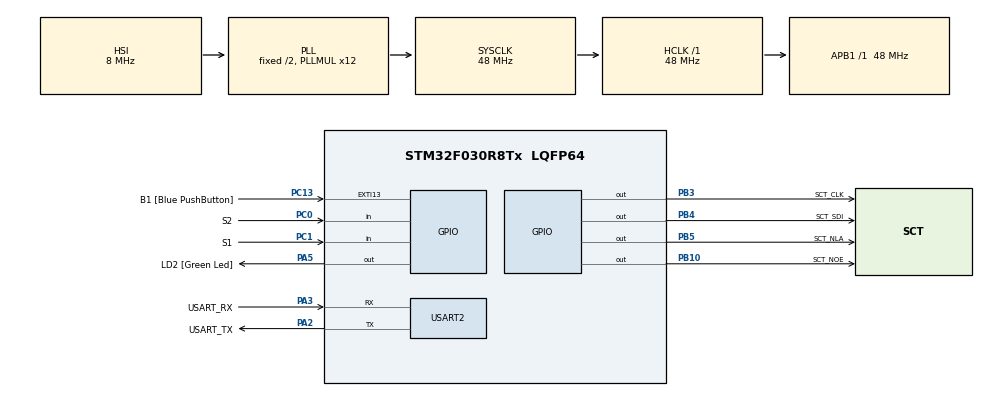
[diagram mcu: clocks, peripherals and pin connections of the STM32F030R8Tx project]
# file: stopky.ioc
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Mcu.Family=STM32F0
Mcu.Name=STM32F030R8Tx
Mcu.Package=LQFP64
PA13.GPIO_Label=TMS
PA13.Mode=Serial_Wire
PA13.Signal=SYS_SWDIO
PA14.GPIO_Label=TCK
PA14.Mode=Serial_Wire
PA14.Signal=SYS_SWCLK
PA2.GPIO_Label=USART_TX
PA2.GPIO_Mode=GPIO_MODE_AF_PP
PA2.GPIO_PuPd=GPIO_NOPULL
PA2.GPIO_Speed=GPIO_SPEED_FREQ_LOW
PA2.Mode=Asynchronous
PA2.Signal=USART2_TX
PA3.GPIO_Label=USART_RX
PA3.GPIO_Mode=GPIO_MODE_AF_PP
PA3.GPIO_PuPd=GPIO_NOPULL
PA3.GPIO_Speed=GPIO_SPEED_FREQ_LOW
PA3.Mode=Asynchronous
PA3.Signal=USART2_RX
PA5.GPIO_Label=LD2 [Green Led]
PA5.GPIO_Mode=GPIO_MODE_OUTPUT_PP
PA5.GPIO_PuPd=GPIO_NOPULL
PA5.GPIO_Speed=GPIO_SPEED_FREQ_LOW
PA5.Signal=GPIO_Output
PB10.GPIO_Label=SCT_NOE
PB10.Signal=GPIO_Output
PB3.GPIO_Label=SCT_CLK
PB3.Signal=GPIO_Output
PB4.GPIO_Label=SCT_SDI
PB4.Signal=GPIO_Output
PB5.GPIO_Label=SCT_NLA
PB5.Signal=GPIO_Output
PC0.GPIO_Label=S2
PC0.GPIO_PuPd=GPIO_PULLUP
PC0.Signal=GPIO_Input
PC1.GPIO_Label=S1
PC1.GPIO_PuPd=GPIO_PULLUP
PC1.Signal=GPIO_Input
PC13.GPIO_Label=B1 [Blue PushButton]
PC13.GPIO_ModeDefaultEXTI=GPIO_MODE_IT_FALLING
PC13.Signal=GPXTI13
PC14-OSC32_IN.Mode=LSE-External-Oscillator
PC14-OSC32_IN.Signal=RCC_OSC32_IN
PC15-OSC32_OUT.Mode=LSE-External-Oscillator
PC15-OSC32_OUT.Signal=RCC_OSC32_OUT
PF0-OSC_IN.Mode=HSE-External-Clock-Source
PF0-OSC_IN.Signal=RCC_OSC_IN
PF1-OSC_OUT.Signal=RCC_OSC_OUT
ProjectManager.HeapSize=0x200
ProjectManager.StackSize=0x400
ProjectManager.TargetToolchain=STM32CubeIDE
RCC.AHBFreq_Value=48000000
RCC.APB1Freq_Value=48000000
RCC.APB1TimFreq_Value=48000000
RCC.HCLKFreq_Value=48000000
RCC.PLLMUL=RCC_PLL_MUL12
RCC.SYSCLKFreq_VALUE=48000000
RCC.SYSCLKSource=RCC_SYSCLKSOURCE_PLLCLK
USART2.VirtualMode-Asynchronous=VM_ASYNC
board=NUCLEO-F030R8

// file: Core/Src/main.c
/* USER CODE BEGIN Header */
/**
 ******************************************************************************
 * @file           : main.c
 * @brief          : Main program body
 ******************************************************************************
 * @attention
 *
 * Copyright (c) 2024 STMicroelectronics.
 * All rights reserved.
 *
 * This software is licensed under terms that can be found in the LICENSE file
 * in the root directory of this software component.
 * If no LICENSE file comes with this software, it is provided AS-IS.
 *
 ******************************************************************************
 */
/* USER CODE END Header */
#include "main.h"

/* USER CODE BEGIN Includes */
#include "sct.h"
/* USER CODE END Includes */

UART_HandleTypeDef huart2;

void SystemClock_Config(void);
static void MX_GPIO_Init(void);
static void MX_USART2_UART_Init(void);

int main(void)
{

	/* MCU Configuration--------------------------------------------------------*/

	/* Reset of all peripherals, Initializes the Flash interface and the Systick. */
	HAL_Init();

	/* Configure the system clock */
	SystemClock_Config();

	/* Initialize all configured peripherals */
	MX_GPIO_Init();
	MX_USART2_UART_Init();
	/* USER CODE BEGIN 2 */
	sct_init();
	//volatile uint32_t sec = 0;
	uint32_t Time = 0;
	uint32_t timeStart = 0;
	//uint32_t deset =0;
	//uint32_t deset2 = 0;
	uint32_t delay = 0;
	volatile uint8_t bar = 0;
	/* USER CODE END 2 */

	/* Infinite loop */
	/* USER CODE BEGIN WHILE */
	while (1)
	{

		static enum{START, STOP}state = STOP;

		switch (state){
		case START:
			if ( HAL_GetTick()/100>= Time + 1 + (timeStart/100)){
			Time =  HAL_GetTick()/100;
			sct_value(Time,bar,2);

			break;
		case STOP:
			sct_value(Time,bar,2);
			timeStart = HAL_GetTick();
			break;

		}

		if (HAL_GetTick() > delay + 80){
			if (HAL_GPIO_ReadPin(S1_GPIO_Port, S1_Pin) == 0){
				state = STOP;
				delay = HAL_GetTick();
			}
			if (HAL_GPIO_ReadPin(S2_GPIO_Port, S2_Pin) == 0){
				state = START;
				delay = HAL_GetTick();
			}

		}

		/* USER CODE END WHILE */

	}
}

void SystemClock_Config(void)
{
	RCC_OscInitTypeDef RCC_OscInitStruct = {0};
	RCC_ClkInitTypeDef RCC_ClkInitStruct = {0};

	/** Initializes the RCC Oscillators according to the specified parameters
	 * in the RCC_OscInitTypeDef structure.
	 */
	RCC_OscInitStruct.OscillatorType = RCC_OSCILLATORTYPE_HSI;
	RCC_OscInitStruct.HSIState = RCC_HSI_ON;
	RCC_OscInitStruct.HSICalibrationValue = RCC_HSICALIBRATION_DEFAULT;
	RCC_OscInitStruct.PLL.PLLState = RCC_PLL_ON;
	RCC_OscInitStruct.PLL.PLLSource = RCC_PLLSOURCE_HSI;
	RCC_OscInitStruct.PLL.PLLMUL = RCC_PLL_MUL12;
	RCC_OscInitStruct.PLL.PREDIV = RCC_PREDIV_DIV1;
	if (HAL_RCC_OscConfig(&RCC_OscInitStruct) != HAL_OK)
	{
		Error_Handler();
	}

	/** Initializes the CPU, AHB and APB buses clocks
	 */
	RCC_ClkInitStruct.ClockType = RCC_CLOCKTYPE_HCLK|RCC_CLOCKTYPE_SYSCLK
			|RCC_CLOCKTYPE_PCLK1;
	RCC_ClkInitStruct.SYSCLKSource = RCC_SYSCLKSOURCE_PLLCLK;
	RCC_ClkInitStruct.AHBCLKDivider = RCC_SYSCLK_DIV1;
	RCC_ClkInitStruct.APB1CLKDivider = RCC_HCLK_DIV1;

	if (HAL_RCC_ClockConfig(&RCC_ClkInitStruct, FLASH_LATENCY_1) != HAL_OK)
	{
		Error_Handler();
	}
}

static void MX_USART2_UART_Init(void)
{

	huart2.Instance = USART2;
	huart2.Init.BaudRate = 38400;
	huart2.Init.WordLength = UART_WORDLENGTH_8B;
	huart2.Init.StopBits = UART_STOPBITS_1;
	huart2.Init.Parity = UART_PARITY_NONE;
	huart2.Init.Mode = UART_MODE_TX_RX;
	huart2.Init.HwFlowCtl = UART_HWCONTROL_NONE;
	huart2.Init.OverSampling = UART_OVERSAMPLING_16;
	huart2.Init.OneBitSampling = UART_ONE_BIT_SAMPLE_DISABLE;
	huart2.AdvancedInit.AdvFeatureInit = UART_ADVFEATURE_NO_INIT;
	if (HAL_UART_Init(&huart2) != HAL_OK)
	{
		Error_Handler();
	}

}

static void MX_GPIO_Init(void)
{
	GPIO_InitTypeDef GPIO_InitStruct = {0};

	/* GPIO Ports Clock Enable */
	__HAL_RCC_GPIOC_CLK_ENABLE();
	__HAL_RCC_GPIOF_CLK_ENABLE();
	__HAL_RCC_GPIOA_CLK_ENABLE();
	__HAL_RCC_GPIOB_CLK_ENABLE();

	/*Configure GPIO pin Output Level */
	HAL_GPIO_WritePin(LD2_GPIO_Port, LD2_Pin, GPIO_PIN_RESET);

	/*Configure GPIO pin Output Level */
	HAL_GPIO_WritePin(GPIOB, SCT_NOE_Pin|SCT_CLK_Pin|SCT_SDI_Pin|SCT_NLA_Pin, GPIO_PIN_RESET);

	/*Configure GPIO pin : B1_Pin */
	GPIO_InitStruct.Pin = B1_Pin;
	GPIO_InitStruct.Mode = GPIO_MODE_IT_FALLING;
	GPIO_InitStruct.Pull = GPIO_NOPULL;
	HAL_GPIO_Init(B1_GPIO_Port, &GPIO_InitStruct);

	/*Configure GPIO pins : S2_Pin S1_Pin */
	GPIO_InitStruct.Pin = S2_Pin|S1_Pin;
	GPIO_InitStruct.Mode = GPIO_MODE_INPUT;
	GPIO_InitStruct.Pull = GPIO_PULLUP;
	HAL_GPIO_Init(GPIOC, &GPIO_InitStruct);

	/*Configure GPIO pin : LD2_Pin */
	GPIO_InitStruct.Pin = LD2_Pin;
	GPIO_InitStruct.Mode = GPIO_MODE_OUTPUT_PP;
	GPIO_InitStruct.Pull = GPIO_NOPULL;
	GPIO_InitStruct.Speed = GPIO_SPEED_FREQ_LOW;
	HAL_GPIO_Init(LD2_GPIO_Port, &GPIO_InitStruct);

	/*Configure GPIO pins : SCT_NOE_Pin SCT_CLK_Pin SCT_SDI_Pin SCT_NLA_Pin */
	GPIO_InitStruct.Pin = SCT_NOE_Pin|SCT_CLK_Pin|SCT_SDI_Pin|SCT_NLA_Pin;
	GPIO_InitStruct.Mode = GPIO_MODE_OUTPUT_PP;
	GPIO_InitStruct.Pull = GPIO_NOPULL;
	GPIO_InitStruct.Speed = GPIO_SPEED_FREQ_LOW;
	HAL_GPIO_Init(GPIOB, &GPIO_InitStruct);

}

void Error_Handler(void)
{
	__disable_irq();
	while (1)
	{
	}
}
